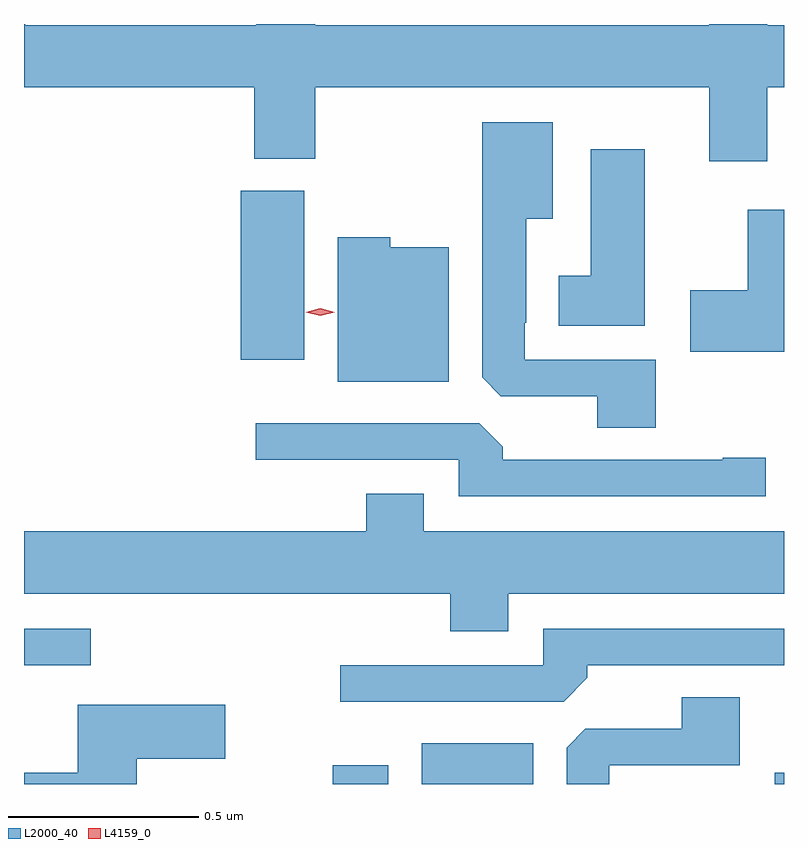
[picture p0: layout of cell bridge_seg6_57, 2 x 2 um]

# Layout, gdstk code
import gdstk
lib = gdstk.Library(unit=1e-6, precision=1e-09)
def R(c, l, rs):  # rectangles x0, y0, x1, y1
    for r in rs: c.add(gdstk.rectangle(r[:2], r[2:], *l))
def P(c, l, *ps):  # polygons
    for p in ps: c.add(gdstk.Polygon(p, *l))
L2000_40 = (2000, 40)
L4159_0 = (4159, 0)

bridge_seg6_57 = lib.new_cell('bridge_seg6_57')
R(bridge_seg6_57, L2000_40, [(1089.536,976.139,1089.682,976.189), (1089.77,976.139,1090.063,976.246), (1090.698,976.139,1090.723,976.168), (1088.723,976.452,1088.899,976.548), (1089.293,977.256,1089.46,977.7)])
P(bridge_seg6_57, L2000_40, [(1090.679,977.972),(1090.723,977.972),(1090.723,978.136),(1090.679,978.136),(1090.679,978.139),(1090.526,978.139),(1090.526,978.136),(1089.489,978.136),(1089.489,978.139),(1089.334,978.139),(1089.334,978.136),(1088.726,978.136),(1088.726,978.139),(1088.723,978.139),(1088.723,977.972),(1089.329,977.972),(1089.329,977.785),(1089.489,977.785),(1089.489,977.972),(1090.526,977.972),(1090.526,977.778),(1090.679,977.778)],
  [(1090.385,977.256),(1090.041,977.256),(1090.041,977.353),(1090.045,977.353),(1090.045,977.627),(1090.114,977.627),(1090.114,977.881),(1089.929,977.881),(1089.929,977.209),(1089.978,977.16),(1090.232,977.16),(1090.232,977.077),(1090.385,977.077)],
  [(1090.357,977.809),(1090.214,977.809),(1090.214,977.476),(1090.13,977.476),(1090.13,977.345),(1090.357,977.345)],
  [(1090.723,977.65),(1090.628,977.65),(1090.628,977.439),(1090.476,977.439),(1090.476,977.276),(1090.723,977.276)],
  [(1089.841,977.551),(1089.687,977.551),(1089.687,977.578),(1089.548,977.578),(1089.548,977.198),(1089.841,977.198)],
  [(1090.675,976.997),(1090.562,976.997),(1090.562,976.992),(1089.983,976.992),(1089.983,977.026),(1089.921,977.088),(1089.333,977.088),(1089.333,976.992),(1089.867,976.992),(1089.867,976.896),(1090.675,976.896)],
  [(1089.997,976.64),(1090.723,976.64),(1090.723,976.804),(1089.775,976.804),(1089.775,976.903),(1089.623,976.903),(1089.623,976.804),(1088.723,976.804),(1088.723,976.64),(1089.845,976.64),(1089.845,976.541),(1089.997,976.541)],
  [(1090.205,976.418),(1090.205,976.452),(1090.723,976.452),(1090.723,976.548),(1090.089,976.548),(1090.089,976.452),(1089.555,976.452),(1089.555,976.356),(1090.143,976.356)],
  [(1090.263,976.188),(1090.607,976.188),(1090.607,976.367),(1090.454,976.367),(1090.454,976.284),(1090.2,976.284),(1090.151,976.235),(1090.151,976.139),(1090.263,976.139)],
  [(1089.02,976.205),(1089.253,976.205),(1089.253,976.347),(1088.864,976.347),(1088.864,976.168),(1088.723,976.168),(1088.723,976.139),(1089.02,976.139)])
P(bridge_seg6_57, L4159_0, [(1089.503,977.371),(1089.465,977.381),(1089.465,977.381),(1089.465,977.381),(1089.503,977.391),(1089.541,977.381),(1089.541,977.381),(1089.541,977.38)])

lib.write_gds('bridge_seg6_57.gds')
